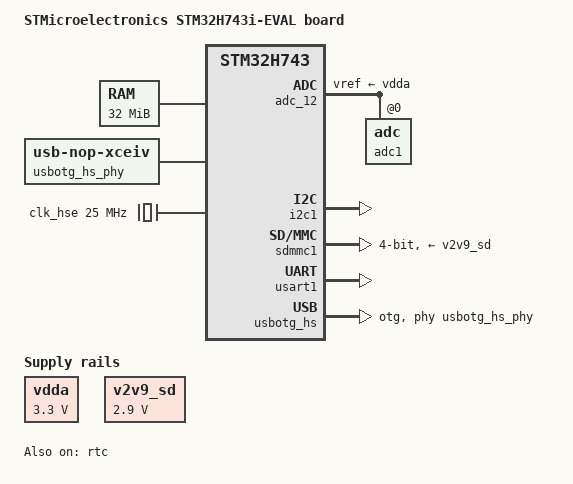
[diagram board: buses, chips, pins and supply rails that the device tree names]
/*
 * Copyright 2017 - Alexandre Torgue <alexandre.torgue@st.com>
 *
 * This file is dual-licensed: you can use it either under the terms
 * of the GPL or the X11 license, at your option. Note that this dual
 * licensing only applies to this file, and not this project as a
 * whole.
 *
 *  a) This file is free software; you can redistribute it and/or
 *     modify it under the terms of the GNU General Public License as
 *     published by the Free Software Foundation; either version 2 of the
 *     License, or (at your option) any later version.
 *
 *     This file is distributed in the hope that it will be useful,
 *     but WITHOUT ANY WARRANTY; without even the implied warranty of
 *     MERCHANTABILITY or FITNESS FOR A PARTICULAR PURPOSE.  See the
 *     GNU General Public License for more details.
 *
 * Or, alternatively,
 *
 *  b) Permission is hereby granted, free of charge, to any person
 *     obtaining a copy of this software and associated documentation
 *     files (the "Software"), to deal in the Software without
 *     restriction, including without limitation the rights to use,
 *     copy, modify, merge, publish, distribute, sublicense, and/or
 *     sell copies of the Software, and to permit persons to whom the
 *     Software is furnished to do so, subject to the following
 *     conditions:
 *
 *     The above copyright notice and this permission notice shall be
 *     included in all copies or substantial portions of the Software.
 *
 *     THE SOFTWARE IS PROVIDED "AS IS", WITHOUT WARRANTY OF ANY KIND,
 *     EXPRESS OR IMPLIED, INCLUDING BUT NOT LIMITED TO THE WARRANTIES
 *     OF MERCHANTABILITY, FITNESS FOR A PARTICULAR PURPOSE AND
 *     NONINFRINGEMENT. IN NO EVENT SHALL THE AUTHORS OR COPYRIGHT
 *     HOLDERS BE LIABLE FOR ANY CLAIM, DAMAGES OR OTHER LIABILITY,
 *     WHETHER IN AN ACTION OF CONTRACT, TORT OR OTHERWISE, ARISING
 *     FROM, OUT OF OR IN CONNECTION WITH THE SOFTWARE OR THE USE OR
 *     OTHER DEALINGS IN THE SOFTWARE.
 */

/dts-v1/;
#include "stm32h743.dtsi"
#include "stm32h743-pinctrl.dtsi"

/ {
	model = "STMicroelectronics STM32H743i-EVAL board";
	compatible = "st,stm32h743i-eval", "st,stm32h743";

	chosen {
		bootargs = "root=/dev/ram";
		stdout-path = "serial0:115200n8";
	};

	memory {
		device_type = "memory";
		reg = <0xd0000000 0x2000000>;
	};

	aliases {
		serial0 = &usart1;
	};

	vdda: regulator-vdda {
		compatible = "regulator-fixed";
		regulator-name = "vdda";
		regulator-min-microvolt = <3300000>;
		regulator-max-microvolt = <3300000>;
		regulator-always-on;
	};

	v2v9_sd: regulator-v2v9_sd {
		compatible = "regulator-fixed";
		regulator-name = "v2v9_sd";
		regulator-min-microvolt = <2900000>;
		regulator-max-microvolt = <2900000>;
		regulator-always-on;
	};

	usbotg_hs_phy: usb-phy {
		#phy-cells = <0>;
		compatible = "usb-nop-xceiv";
		clocks = <&rcc USB1ULPI_CK>;
		clock-names = "main_clk";
	};
};

&adc_12 {
	vdda-supply = <&vdda>;
	vref-supply = <&vdda>;
	status = "okay";
	adc1: adc@0 {
		/* potentiometer */
		st,adc-channels = <0>;
		status = "okay";
	};
};

&clk_hse {
	clock-frequency = <25000000>;
};

&i2c1 {
	pinctrl-0 = <&i2c1_pins_a>;
	pinctrl-names = "default";
	i2c-scl-rising-time-ns = <185>;
	i2c-scl-falling-time-ns = <20>;
	status = "okay";
};

&rtc {
	status = "okay";
};

&mac {
	status = "disabled";
	pinctrl-0	= <&ethernet_rmii>;
	pinctrl-names	= "default";
	phy-mode	= "rmii";
	phy-handle	= <&phy0>;

	mdio0 {
		#address-cells = <1>;
		#size-cells = <0>;
		compatible = "snps,dwmac-mdio";
		phy0: ethernet-phy@0 {
			reg = <0>;
		};
	};
};

&sdmmc1 {
	pinctrl-names = "default", "opendrain", "sleep";
	pinctrl-0 = <&sdmmc1_b4_pins_a &sdmmc1_dir_pins_a>;
	pinctrl-1 = <&sdmmc1_b4_od_pins_a &sdmmc1_dir_pins_a>;
	pinctrl-2 = <&sdmmc1_b4_sleep_pins_a &sdmmc1_dir_sleep_pins_a>;
	broken-cd;
	st,sig-dir;
	st,neg-edge;
	st,use-ckin;
	bus-width = <4>;
	vmmc-supply = <&v2v9_sd>;
	status = "okay";
};

&usart1 {
	pinctrl-0 = <&usart1_pins>;
	pinctrl-names = "default";
	status = "okay";
};

&usbotg_hs {
	pinctrl-0 = <&usbotg_hs_pins_a>;
	pinctrl-names = "default";
	phys = <&usbotg_hs_phy>;
	phy-names = "usb2-phy";
	dr_mode = "otg";
	status = "okay";
};
